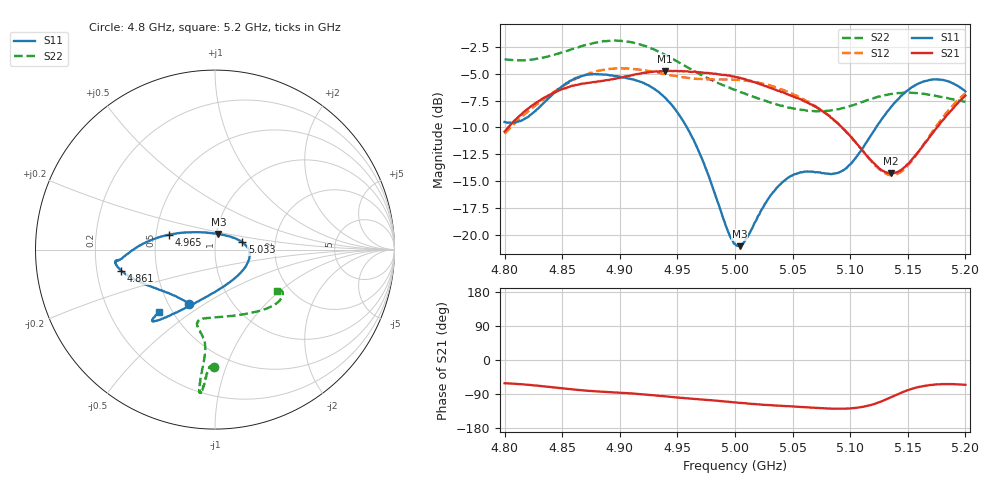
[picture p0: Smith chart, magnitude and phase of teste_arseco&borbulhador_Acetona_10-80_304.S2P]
! Network Analyzer HP8722D
! Hewlett-Packard
! Data name: Linha & Wilkinson
! Saver's name: Rodrigo Anjos
! Comments: Teste da utilização de aquisição
! continua pelo VNA HP8722D
! Time and date: 17/4/2025 16:53
!  Frequency  S11  S21  S12  S22
# HZ  S  MA R 50
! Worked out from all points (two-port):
!   401 points, 4.8 GHz to 5.2 GHz, reference 50 ohm
!   highest |S21| = -4.73 dB at 4.939 GHz (marker M1); lowest = -14.3 dB at 5.135 GHz (marker M2)
!   |S21| within 3 dB of the highest: 4.827 GHz to 5.064 GHz (236.6 MHz wide, 4.78 % of centre); 5.19347 GHz to end of sweep
!   lowest |S11| = -21.1 dB at 5.004 GHz (marker M3), VSWR 1.19, Z = 51.1 + j8.92 ohm
!   |S11| at or under -10 dB: 4.958 GHz to 5.122 GHz (164.1 MHz wide, 3.26 % of centre)
!   |S22| runs from -8.5 to -1.9 dB; largest |S21 - S12| = 0.87
!   S11 on the Smith chart (normalised r, x): 4.8 GHz: 0.63, -0.43; 4.861 GHz: 0.31, -0.10; 4.965 GHz: 0.58, +0.10; 5.033 GHz: 1.35, +0.12; 5.2 GHz: 0.43, -0.38
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4.8e9  0.3354 -115.2  0.3023 -61.3  0.2958 -175.6  0.656 -90.6
4.819e9  0.3515 -135.3  0.3815 -65.1  0.3699 -174.7  0.6514 -92.1
4.861e9  0.5351 -167.2  0.4973 -78.2  0.5304 -178.1  0.7375 -94.5
4.867e9  0.549 -169.5  0.5055 -79.9  0.548 -179.2  0.7564 -94.6
4.899e9  0.545 -173.7  0.5373 -86.3  0.5948 174.5  0.8 -96.1
4.934e9  0.4614 -179.6  0.5759 -94.6  0.57 171.1  0.7096 -96.3
4.939e9  0.4366 178.5  0.5801 -95.9  0.5612 170.9  0.6896 -96.2
4.965e9  0.2697 162.1  0.5759 -102.9  0.5331 173.0  0.5762 -95.6
4.994e9  0.1035 114.1  0.5521 -110.1  0.5282 175.2  0.4867 -98.2
5e9  0.09057 92.8  0.5437 -112.0  0.5282 175.3  0.4731 -99.4
5.004e9  0.08857 77.7  0.539 -113.0  0.5252 175.2  0.4642 -100.2
5.033e9  0.1579 15.2  0.4794 -119.6  0.4902 173.9  0.4094 -103.3
5.05e9  0.1893 -1.4  0.4423 -122.6  0.4529 173.4  0.3882 -98.9
5.067e9  0.197 -19.9  0.4036 -125.6  0.4064 173.1  0.3772 -89.7
5.096e9  0.2034 -70.3  0.3038 -128.3  0.3047 174.7  0.3921 -67.1
5.121e9  0.3072 -108.9  0.2139 -116.1  0.2124 -171.0  0.4341 -49.8
5.134e9  0.3849 -119.1  0.1939 -100.2  0.1899 -153.5  0.4512 -43.2
5.135e9  0.391 -119.7  0.1933 -98.9  0.1895 -151.7  0.4523 -42.7
5.148e9  0.4622 -125.7  0.2084 -82.0  0.2048 -132.1  0.4589 -37.8
5.168e9  0.5246 -130.5  0.2811 -67.0  0.2845 -113.2  0.4486 -32.9
5.184e9  0.5203 -131.9  0.3614 -63.6  0.3726 -107.9  0.4337 -31.7
5.2e9  0.4653 -131.9  0.4445 -65.5  0.4556 -107.6  0.4158 -34.1
